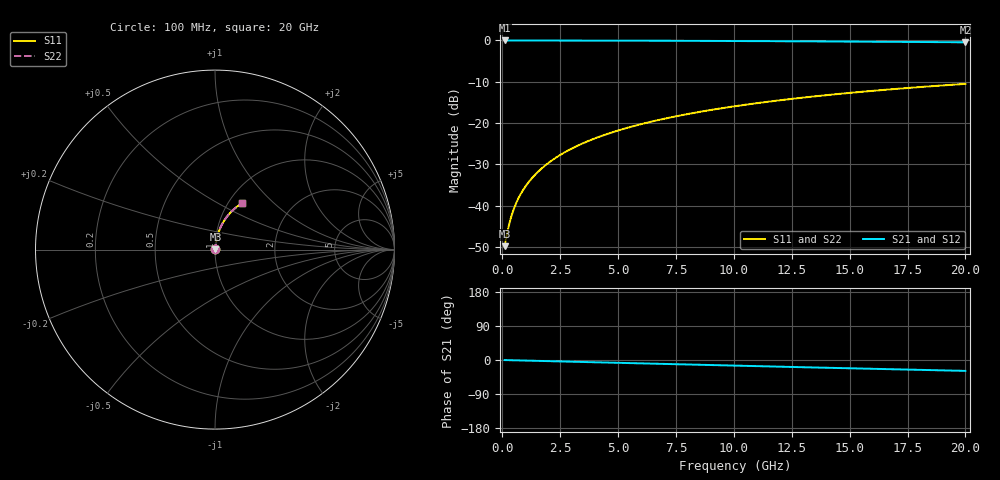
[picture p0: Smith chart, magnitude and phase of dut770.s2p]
! Touchstone file exported from HFSS 2026.1.0
!  File:  C:/ffzhzh/LocalFiles/Ansys_Project_Files/temp_train_BSMRDL_770_1783169161_18472.aedt
!  Generated:  08:47:12 PM Jul  4, 2026
!  Design:  BSMRDL
!  Project:  temp_train_BSMRDL_770_1783169161_18472
! Variables:
!  h_bsmrdl = 2.18um
!  h_ox = 20um
!  h_rdl = 5um
!  h_sub = 80um
!  h_tmrdl = 5um
!  h_tsv = 80um
!  h_via = 3um
!  l_bsmrdl = 362.85um
!  l_sub = 762.85um
!  l_tmrdl = 200um
!  m_sub = 200um
!  pitch = 56.26um
!  r_tsv = 6um
!  s_tmrdl = 10um
!  w_bsmrdl = 25.34um
!  w_sub = 500um
!  w_tmrdl = 12um
!  x_tsv_center1 = 206um
!  x_tsv_center2 = 594.19um
!  x_tsv_center3 = 806.19um
!  x_tsv_center4 = 1194.38um
!  x_tsv_center5 = 1406.38um
!  x_tsv_center6 = 1794.57um
# GHz S MA R 50.000000
! Terminal data exported
! Port[1] = BSM_RDL1_1_T1
! Port[2] = BSM_RDL1_1_T2
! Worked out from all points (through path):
!   200 points, 100 MHz to 20 GHz, reference 50 ohm
!   highest |S21| = -0.02 dB at 100 MHz (marker M1); lowest = -0.5 dB at 20 GHz (marker M2)
!   group delay of S21, straight-line fit = 4 ps
!   lowest |S11| = -49.8 dB at 100 MHz (marker M3), VSWR 1.01, Z = 50.3 + j0.179 ohm
!   |S11| at or under -10 dB: start of sweep to end of sweep
!   |S22| runs from -49.8 to -10.5 dB; largest |S21 - S12| = 4e-15
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0.1  0.00324 33.4  0.9973 -0.2  0.9973 -0.2  0.00324 33.4
! Gamma 0 0 0 0
! Port Impedance 50 0 50 0
0.2  0.004508 51.8  0.9972 -0.3  0.9972 -0.3  0.004508 51.8
0.3  0.006014 61.0  0.9971 -0.5  0.9971 -0.5  0.006014 61.0
0.4  0.007587 66.3  0.997 -0.6  0.997 -0.6  0.007587 66.3
0.5  0.009173 69.6  0.9969 -0.8  0.9969 -0.8  0.009173 69.6
0.6  0.01076 72.0  0.9968 -0.9  0.9968 -0.9  0.01076 72.0
0.8  0.01392 75.0  0.9966 -1.2  0.9966 -1.2  0.01392 75.0
1.1  0.01868 77.7  0.9964 -1.7  0.9964 -1.7  0.01868 77.7
1.3  0.02186 78.8  0.9963 -2.0  0.9963 -2.0  0.02186 78.8
1.6  0.02665 79.9  0.9961 -2.4  0.9961 -2.4  0.02665 79.9
2.1  0.03466 80.8  0.9958 -3.2  0.9958 -3.2  0.03466 80.8
2.7  0.04431 81.1  0.9953 -4.1  0.9953 -4.1  0.04431 81.1
3.5  0.05717 80.9  0.9945 -5.2  0.9945 -5.2  0.05717 80.9
4.2  0.0684 80.4  0.9937 -6.3  0.9937 -6.3  0.0684 80.4
5  0.08119 79.7  0.9927 -7.5  0.9927 -7.5  0.08119 79.7
5.9  0.09548 78.7  0.9912 -8.8  0.9912 -8.8  0.09548 78.7
6.8  0.1097 77.6  0.9896 -10.1  0.9896 -10.1  0.1097 77.6
8.3  0.133 75.7  0.9865 -12.3  0.9865 -12.3  0.133 75.7
10.1  0.1605 73.2  0.982 -14.9  0.982 -14.9  0.1605 73.3
13.4  0.209 68.7  0.9722 -19.7  0.9722 -19.7  0.209 68.8
16.7  0.2547 64.3  0.9605 -24.3  0.9605 -24.3  0.2547 64.3
20  0.2975 59.9  0.9477 -28.7  0.9477 -28.7  0.2975 59.9
